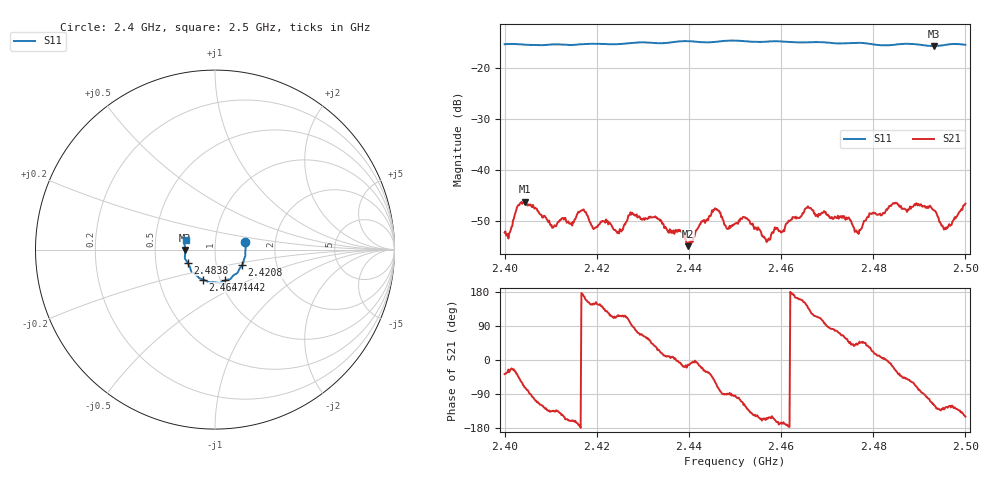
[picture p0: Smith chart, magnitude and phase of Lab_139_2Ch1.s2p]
# Hz S RI R 50
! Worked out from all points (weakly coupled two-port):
!   601 points, 2.4 GHz to 2.5 GHz, reference 50 ohm
!   highest |S21| = -46.19 dB at 2.4043 GHz (marker M1); lowest = -54.9 dB at 2.4398 GHz (marker M2)
!   lowest |S11| = -15.6 dB at 2.4932 GHz (marker M3), VSWR 1.40, Z = 35.8 - j0.0984 ohm
!   |S11| at or under -10 dB: start of sweep to end of sweep
!   S12 and S22 are empty: the file has one direction only
!   S11 on the Smith chart (normalised r, x): 2.4 GHz: 1.40, +0.12; 2.4208 GHz: 1.33, -0.24; 2.4442 GHz: 1.05, -0.37; 2.4647 GHz: 0.83, -0.29; 2.4838 GHz: 0.73, -0.11; 2.5 GHz: 0.72, +0.08
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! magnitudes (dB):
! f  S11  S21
! 2.4 GHz  -15.2  -52.3
! 2.4043 GHz  -15.3  -46.2
! 2.4107 GHz  -15.3  -51.1
! 2.4167 GHz  -15.2  -47.9
! 2.4208 GHz  -15.2  -50.2
! 2.4248 GHz  -15.2  -52.4
! 2.4273 GHz  -15.0  -48.3
! 2.4333 GHz  -15.0  -49.6
! 2.4398 GHz  -14.6  -54.9
! 2.4442 GHz  -14.9  -49.8
! 2.446 GHz  -14.8  -47.6
! 2.45 GHz  -14.5  -50.5
! 2.4523 GHz  -14.7  -49.5
! 2.4572 GHz  -14.7  -53.6
! 2.4647 GHz  -14.9  -48.5
! 2.4667 GHz  -14.8  -47.7
! 2.4765 GHz  -15.0  -52.2
! 2.4833 GHz  -15.5  -47.4
! 2.4838 GHz  -15.4  -47.1
! 2.4932 GHz  -15.6  -47.9
! 2.4957 GHz  -15.4  -51.3
! 2.5 GHz  -15.3  -46.6
